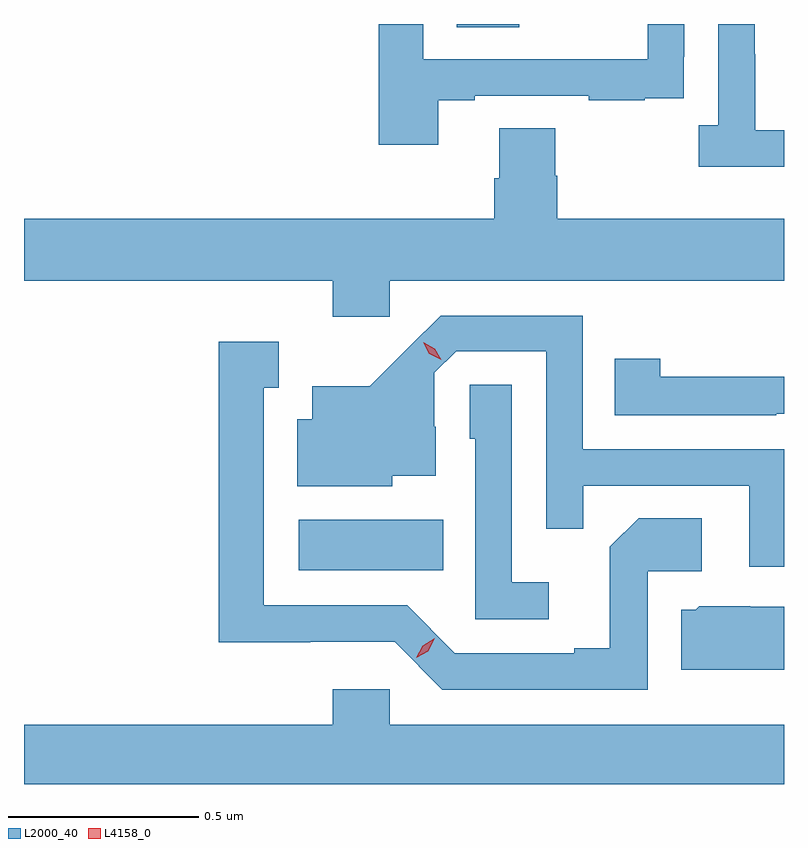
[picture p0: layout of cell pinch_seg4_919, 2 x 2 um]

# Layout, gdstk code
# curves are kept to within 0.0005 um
import gdstk
lib = gdstk.Library(unit=1e-6, precision=1e-09)
def R(c, l, rs):  # rectangles x0, y0, x1, y1
    for r in rs: c.add(gdstk.rectangle(r[:2], r[2:], *l))
def P(c, l, *ps):  # polygons
    for p in ps: c.add(gdstk.Polygon(p, *l))
L2000_40 = (2000, 40)
L4158_0 = (4158, 0)

pinch_seg4_919 = lib.new_cell('pinch_seg4_919')
R(pinch_seg4_919, L2000_40, [(750.096,822.698,750.476,822.832), (750.512,824.128,750.676,824.136)])
P(pinch_seg4_919, L2000_40, [(751.373,823.857),(751.297,823.857),(751.297,824.057),(751.296,824.057),(751.296,824.136),(751.2,824.136),(751.2,823.87),(751.149,823.87),(751.149,823.76),(751.373,823.76)],
  [(750.463,823.935),(750.559,823.935),(750.559,823.947),(750.859,823.947),(750.859,823.935),(751.007,823.935),(751.007,823.941),(751.109,823.941),(751.109,824.05),(751.11,824.05),(751.11,824.136),(751.014,824.136),(751.014,824.043),(750.423,824.043),(750.423,824.136),(750.307,824.136),(750.307,823.818),(750.463,823.818)],
  [(750.336,823.46),(751.373,823.46),(751.373,823.624),(750.776,823.624),(750.776,823.737),(750.771,823.737),(750.771,823.862),(750.623,823.862),(750.623,823.73),(750.611,823.73),(750.611,823.624),(749.373,823.624),(749.373,823.46),(750.185,823.46),(750.185,823.365),(750.336,823.365)],
  [(751.373,823.017),(750.843,823.017),(750.843,823.368),(750.47,823.368),(750.283,823.183),(750.131,823.183),(750.131,823.096),(750.092,823.096),(750.092,822.92),(750.342,822.92),(750.342,822.947),(750.457,822.947),(750.457,823.076),(750.453,823.076),(750.453,823.218),(750.51,823.275),(750.747,823.275),(750.747,822.808),(750.845,822.808),(750.845,822.921),(751.281,822.921),(751.281,822.708),(751.373,822.708)],
  [(751.014,822.696),(751.156,822.696),(751.156,822.836),(750.991,822.836),(750.915,822.76),(750.915,822.493),(750.821,822.493),(750.821,822.48),(750.507,822.48),(750.381,822.606),(750.004,822.606),(750.004,823.179),(750.043,823.179),(750.043,823.3),(749.886,823.3),(749.886,822.509),(750.126,822.509),(750.126,822.51),(750.348,822.51),(750.474,822.384),(751.014,822.384)],
  [(751.352,823.11),(751.373,823.11),(751.373,823.208),(751.047,823.208),(751.047,823.255),(750.928,823.255),(750.928,823.107),(751.352,823.107)],
  [(750.754,822.667),(750.657,822.667),(750.657,823.187),(750.546,823.187),(750.546,823.044),(750.561,823.044),(750.561,822.57),(750.754,822.57)],
  [(751.373,822.603),(751.284,822.603),(751.284,822.604),(751.15,822.604),(751.141,822.595),(751.103,822.595),(751.103,822.437),(751.373,822.437)],
  [(751.373,822.292),(750.336,822.292),(750.336,822.385),(750.185,822.385),(750.185,822.292),(749.373,822.292),(749.373,822.136),(751.373,822.136)])
P(pinch_seg4_919, L4158_0, [(750.471,823.252),(750.44,823.268),(750.423,823.298),(750.423,823.298),(750.423,823.298),(750.454,823.282),(750.471,823.253),(750.471,823.252)],
  [(750.405,822.468),(750.405,822.468),(750.422,822.5),(750.454,822.519),(750.454,822.519),(750.454,822.519),(750.437,822.486),(750.405,822.468)])

lib.write_gds('pinch_seg4_919.gds')
